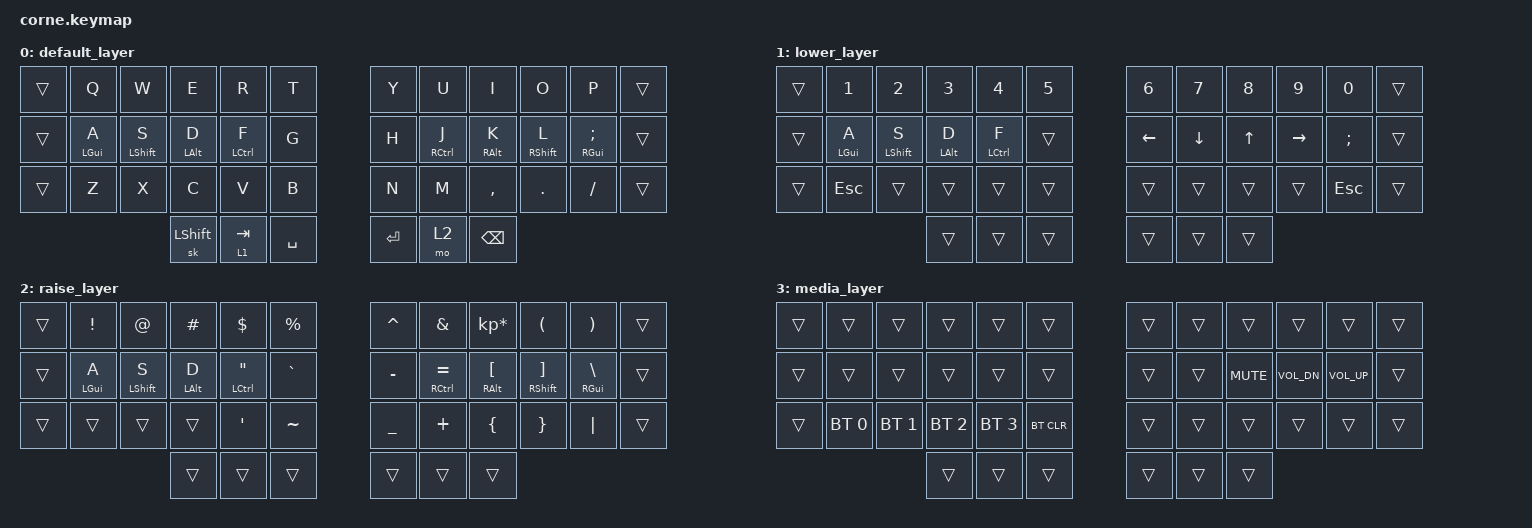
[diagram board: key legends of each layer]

/*
 * Copyright (c) 2020 The ZMK Contributors
 *
 * SPDX-License-Identifier: MIT
 */

#include <behaviors.dtsi>
#include <dt-bindings/zmk/keys.h>
#include <dt-bindings/zmk/bt.h>
#define KEYS_L 0 1 2 3 4 5 12 13 14 15 16 17 24 25 26 27 28 29
#define KEYS_R 6 7 8 9 10 11 18 19 20 21 22 23 30 31 32 33 34 35
#define THUMBS 36 37 38 39 40 41

/ {
        behaviors {
            hmr: homerow_mods_right {
                compatible = "zmk,behavior-hold-tap";
                flavor = "balanced";
                tapping-term-ms = <300>;
                require-prior-idle-ms = <150>;
                quick-tap-ms = <175>;                // repeat on tap-into-hold
                bindings = <&kp>, <&kp>;
                #binding-cells = <2>;
                hold-trigger-key-positions = <KEYS_L THUMBS>;
                hold-trigger-on-release;             // delay positional check until key-release
            };
            hml: homerow_mods_left {
                compatible = "zmk,behavior-hold-tap";
                flavor = "balanced";
                tapping-term-ms = <300>;
                require-prior-idle-ms = <150>;
                quick-tap-ms = <175>;                // repeat on tap-into-hold
                bindings = <&kp>, <&kp>;
                #binding-cells = <2>;
                hold-trigger-key-positions = <KEYS_R THUMBS>;
                hold-trigger-on-release;             // delay positional check until key-release
            };
            tl: thumb_left {
                compatible = "zmk,behavior-hold-tap";
                flavor = "hold-preferred";
                tapping-term-ms = <200>;
                quick-tap-ms = <175>;                // repeat on tap-into-hold
                bindings = <&mo>, <&kp>;
                #binding-cells = <2>;
            };
        };

        combos {
                compatible = "zmk,combos";
                combo_layer_three {
                    timeout-ms = <50>;
                    key-positions = <37 40>;
                    bindings = <&mo 3>;
                };
                combo_caps_lock {
                    timeout-ms = <50>;
                    key-positions = <14 21>;
                    bindings = <&kp CAPS>;
                };
            };

        keymap {
                compatible = "zmk,keymap";

                default_layer {
// -----------------------------------------------------------------------------------------
// |  Q  |  W  |  E  |  R  |  T  |   |  Y  |  U   |  I  |  O  |  P  |
// |  A  |  S  |  D  |  F  |  G  |   |  H  |  J   |  K  |  L  |  ;  |
// |  Z  |  X  |  C  |  V  |  B  |   |  N  |  M   |  ,  |  .  |  /  |
//                    | TAB | LWR | SPC |   | ENT | RSE  | BSPC |
                        bindings = <
   &trans &kp Q &kp W &kp E &kp R &kp T   &kp Y &kp U  &kp I     &kp O   &kp P &trans
   &trans &hml LGUI A &hml LSHFT S &hml LALT D &hml LCTRL F &kp G   &kp H &hmr RCTRL J  &hmr RALT K     &hmr RSHFT L   &hmr RGUI SEMI &trans
   &trans &kp Z &kp X &kp C &kp V &kp B   &kp N &kp M  &kp COMMA &kp DOT &kp FSLH &trans
                  &sk LSHFT &tl 1 TAB &kp SPACE   &kp RET &mo 2 &kp BSPC
                        >;
                };
                lower_layer {
// -----------------------------------------------------------------------------------------
// |  1  |  2  |  3  |  4  |  5  |   |  6  |  7  |  8  |  9  |  0  |
// |     |     |     |     |     |   | LFT | DWN |  UP | RGT |     |
// |     |     |     |     |     |   |     |     |     |     |     |
//                    | TAB |     | SPC |   | ENT |     | BSPC |
                        bindings = <
   &trans &kp N1       &kp N2       &kp N3       &kp N4       &kp N5         &kp N6   &kp N7   &kp N8 &kp N9    &kp N0 &trans
   &trans &hml LGUI A &hml LSHFT S &hml LALT D &hml LCTRL F &trans   &kp LEFT &kp DOWN &kp UP &kp RIGHT &kp SEMI &trans
   &trans &kp ESC      &trans       &trans       &trans      &trans         &trans   &trans   &trans &trans    &kp ESC &trans
                          	        &trans     &trans       &trans      &trans  &trans   &trans
                        >;
                };

                raise_layer {
// -----------------------------------------------------------------------------------------
// |  !  |  @  |  #  |  $  |  %  |   |  ^  |  &  |  *  |  (  |  )  |
// |     |     |     |  "  |  `  |   |  -  |  =  |  [  |  ]  |  \  |
// |     |     |     |  '  |  ~  |   |  _  |  +  |  {  |  }  | "|" |
//                    | TAB |     | SPC |   | ENT |     | BSPC |
                        bindings = <
   &trans &kp EXCL &kp AT &kp HASH &kp DLLR &kp PRCNT   &kp CARET &kp AMPS  &kp KP_MULTIPLY &kp LPAR &kp RPAR &trans
   &trans &hml LGUI A   &hml LSHFT S &hml LALT D   &hml LCTRL DQT   &kp GRAVE      &kp MINUS &hmr RCTRL EQUAL &hmr RALT LBKT        &hmr RSHFT RBKT &hmr RGUI BSLH &trans
   &trans &trans   &trans &trans   &kp SQT   &kp TILDE      &kp UNDER &kp PLUS  &kp LBRC        &kp RBRC &kp PIPE &trans
                    	     &trans     &trans       &trans      &trans  &trans   &trans
                        >;
                };

                media_layer {
// -----------------------------------------------------------------------------------------
// |     |     |     |     |     |   |     |     |     |     |     |
// |     |     |     |     |     |   |     |     |  C_MUTE   |   C_VOL_DN  |  C_VOL_UP   |
// | BT0 | BT1 | BT2 | BT3 |  BT_CLR  |     |     |     |     |     |
//                    | TAB |     | SPC |   | ENT |     | BSPC |
                        bindings = <
   &trans &trans      &trans       &trans       &trans      &trans         &trans   &trans   &trans &trans    &trans &trans
   &trans &trans      &trans       &trans       &trans      &trans         &trans   &trans   &kp C_MUTE &kp C_VOL_DN    &kp C_VOL_UP &trans
   &trans &bt BT_SEL 0       &bt BT_SEL 1       &bt BT_SEL 2       &bt BT_SEL 3       &bt BT_CLR         &trans   &trans   &trans &trans    &trans &trans
                    	     &trans     &trans       &trans      &trans  &trans   &trans
                        >;
                };
        };
};
